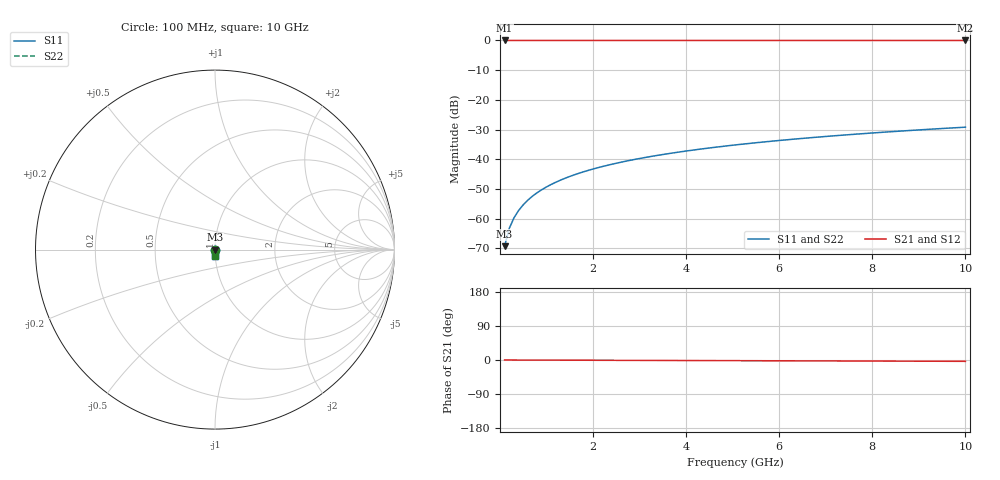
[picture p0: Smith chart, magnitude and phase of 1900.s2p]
# Hz S RI R 50.00
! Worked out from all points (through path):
!   100 points, 100 MHz to 10 GHz, reference 50 ohm
!   highest |S21| = 0.00 dB at 100 MHz (marker M1); lowest = 0.0 dB at 10 GHz (marker M2)
!   lowest |S11| = -69.3 dB at 100 MHz (marker M3), VSWR 1.00, Z = 50 - j0.0341 ohm
!   |S11| at or under -10 dB: start of sweep to end of sweep
!   |S22| runs from -69.3 to -29.2 dB; largest |S21 - S12| = 0
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1e8  3.55e-05 -0.000341  1 -0.000602  1 -0.000602  3.55e-05 -0.000341
2e8  3.47e-05 -0.000681  1 -0.0012  1 -0.0012  3.47e-05 -0.000681
3e8  3.34e-05 -0.00102  1 -0.00181  1 -0.00181  3.34e-05 -0.00102
4e8  3.16e-05 -0.00136  1 -0.00241  1 -0.00241  3.16e-05 -0.00136
5e8  2.94e-05 -0.0017  1 -0.00301  1 -0.00301  2.94e-05 -0.0017
6e8  2.68e-05 -0.00205  1 -0.00361  1 -0.00361  2.68e-05 -0.00205
7e8  2.38e-05 -0.00239  0.9999 -0.00421  0.9999 -0.00421  2.38e-05 -0.00239
8e8  2.04e-05 -0.00273  0.9999 -0.00482  0.9999 -0.00482  2.04e-05 -0.00273
9e8  1.65e-05 -0.00307  0.9999 -0.00542  0.9999 -0.00542  1.65e-05 -0.00307
1.1e9  7.57e-06 -0.00375  0.9999 -0.00662  0.9999 -0.00662  7.57e-06 -0.00375
1.4e9  -9e-06 -0.00478  0.9999 -0.00843  0.9999 -0.00843  -9e-06 -0.00478
1.8e9  -3.69e-05 -0.00615  0.9999 -0.0108  0.9999 -0.0108  -3.69e-05 -0.00615
2.1e9  -6.23e-05 -0.00717  0.9998 -0.0127  0.9998 -0.0127  -6.23e-05 -0.00717
2.5e9  -0.000102 -0.00855  0.9998 -0.0151  0.9998 -0.0151  -0.000102 -0.00855
2.9e9  -0.000148 -0.00992  0.9997 -0.0175  0.9997 -0.0175  -0.000148 -0.00992
3.4e9  -0.000216 -0.0116  0.9997 -0.0205  0.9997 -0.0205  -0.000216 -0.0116
4.2e9  -0.000346 -0.0144  0.9995 -0.0254  0.9995 -0.0254  -0.000346 -0.0144
5.1e9  -0.000525 -0.0175  0.9993 -0.0309  0.9993 -0.0309  -0.000525 -0.0175
5.9e9  -0.000714 -0.0203  0.9991 -0.0358  0.9991 -0.0358  -0.000714 -0.0203
6.7e9  -0.000931 -0.0231  0.9988 -0.0407  0.9988 -0.0407  -0.000931 -0.0231
8.4e9  -0.00148 -0.029  0.9982 -0.0512  0.9982 -0.0512  -0.00148 -0.029
1e10  -0.00212 -0.0345  0.9974 -0.0611  0.9974 -0.0611  -0.00212 -0.0345
